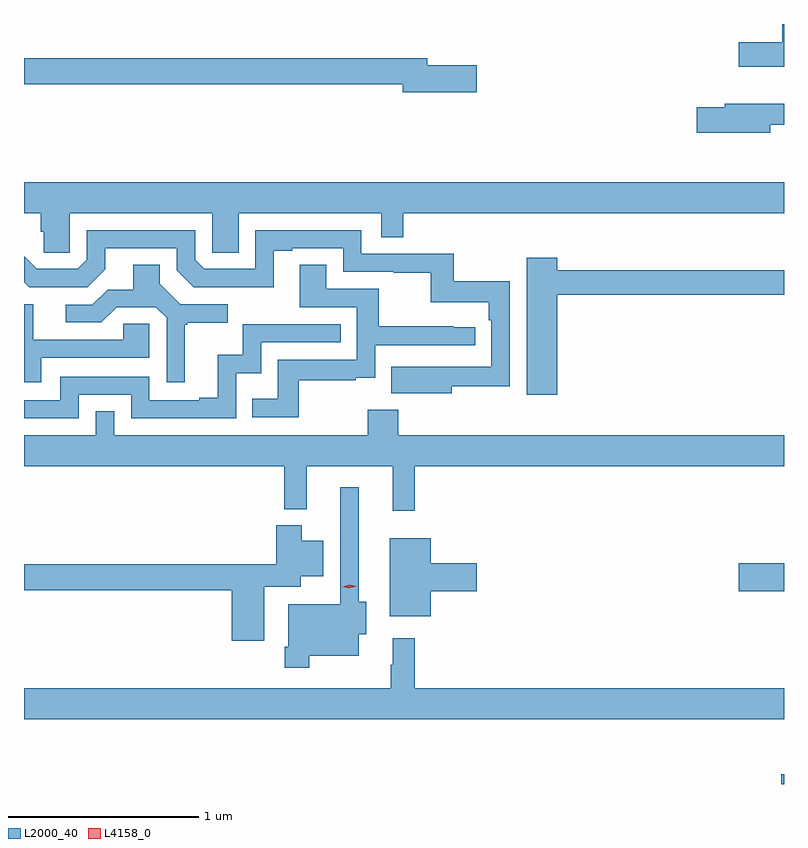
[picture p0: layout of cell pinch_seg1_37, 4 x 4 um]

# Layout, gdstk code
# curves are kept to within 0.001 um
import gdstk
lib = gdstk.Library(unit=1e-6, precision=1e-09)
def R(c, l, rs):  # rectangles x0, y0, x1, y1
    for r in rs: c.add(gdstk.rectangle(r[:2], r[2:], *l))
def P(c, l, *ps):  # polygons
    for p in ps: c.add(gdstk.Polygon(p, *l))
L2000_40 = (2000, 40)
L4158_0 = (4158, 0)

pinch_seg1_37 = lib.new_cell('pinch_seg1_37')
R(pinch_seg1_37, L2000_40, [(1097.293,564.712,1097.308,564.764), (1097.07,565.727,1097.308,565.874)])
P(pinch_seg1_37, L2000_40, [(1097.308,568.712),(1097.3,568.712),(1097.3,568.617),(1097.07,568.617),(1097.07,568.487),(1097.308,568.487)],
  [(1095.691,568.496),(1095.43,568.496),(1095.43,568.532),(1093.308,568.532),(1093.308,568.396),(1095.302,568.396),(1095.302,568.354),(1095.691,568.354)],
  [(1097.236,568.182),(1097.308,568.182),(1097.308,568.292),(1096.997,568.292),(1096.997,568.274),(1096.848,568.274),(1096.848,568.139),(1097.236,568.139)],
  [(1093.548,567.716),(1094.298,567.716),(1094.298,567.508),(1094.437,567.508),(1094.437,567.716),(1095.189,567.716),(1095.189,567.589),(1095.305,567.589),(1095.305,567.716),(1097.308,567.716),(1097.308,567.88),(1093.308,567.88),(1093.308,567.716),(1093.397,567.716),(1093.397,567.618),(1093.411,567.618),(1093.411,567.508),(1093.548,567.508)],
  [(1095.559,566.806),(1095.864,566.806),(1095.864,567.358),(1095.571,567.358),(1095.571,567.504),(1095.084,567.504),(1095.084,567.627),(1094.526,567.627),(1094.526,567.423),(1094.256,567.423),(1094.208,567.471),(1094.208,567.627),(1093.638,567.627),(1093.638,567.471),(1093.59,567.423),(1093.374,567.423),(1093.308,567.489),(1093.308,567.354),(1093.335,567.327),(1093.641,567.327),(1093.735,567.421),(1093.735,567.531),(1094.112,567.531),(1094.112,567.417),(1094.202,567.327),(1094.623,567.326),(1094.623,567.519),(1094.719,567.519),(1094.719,567.531),(1094.988,567.531),(1094.988,567.408),(1095.253,567.408),(1095.253,567.403),(1095.45,567.403),(1095.45,567.248),(1095.755,567.248),(1095.755,567.152),(1095.768,567.152),(1095.768,566.907),(1095.241,566.908),(1095.241,566.768),(1095.559,566.768)],
  [(1096.114,567.286),(1097.308,567.286),(1097.308,567.415),(1096.114,567.415),(1096.114,567.481),(1095.953,567.481),(1095.953,566.76),(1096.114,566.76)],
  [(1094.755,566.838),(1095.053,566.838),(1095.053,566.849),(1095.156,566.849),(1095.156,567.021),(1095.682,567.021),(1095.682,567.117),(1095.569,567.117),(1095.569,567.122),(1095.176,567.122),(1095.176,567.318),(1094.899,567.318),(1094.899,567.446),(1094.759,567.446),(1094.759,567.222),(1095.06,567.222),(1095.06,566.946),(1094.644,566.946),(1094.644,566.74),(1094.509,566.74),(1094.509,566.643),(1094.755,566.643)],
  [(1094.155,567.129),(1094.167,567.129),(1094.167,567.14),(1094.38,567.14),(1094.38,567.237),(1094.13,567.237),(1094.023,567.344),(1094.023,567.446),(1093.883,567.446),(1093.883,567.314),(1093.748,567.314),(1093.668,567.234),(1093.527,567.234),(1093.527,567.141),(1093.714,567.141),(1093.795,567.222),(1094.001,567.222),(1094.058,567.165),(1094.058,566.826),(1094.155,566.826)],
  [(1093.399,566.955),(1093.968,566.955),(1093.968,567.135),(1093.831,567.135),(1093.831,567.051),(1093.357,567.051),(1093.357,567.237),(1093.308,567.237),(1093.308,566.826),(1093.399,566.826)],
  [(1093.596,566.76),(1093.872,566.76),(1093.872,566.637),(1094.424,566.637),(1094.424,566.873),(1094.556,566.873),(1094.556,567.036),(1094.975,567.036),(1094.975,567.132),(1094.46,567.132),(1094.46,566.971),(1094.327,566.971),(1094.327,566.746),(1094.231,566.746),(1094.231,566.733),(1093.968,566.733),(1093.968,566.856),(1093.5,566.856),(1093.5,566.733),(1093.308,566.733),(1093.308,566.637),(1093.596,566.637)],
  [(1095.365,566.384),(1097.308,566.384),(1097.308,566.548),(1095.278,566.548),(1095.278,566.683),(1095.118,566.683),(1095.118,566.548),(1093.782,566.548),(1093.782,566.675),(1093.686,566.675),(1093.686,566.548),(1093.308,566.548),(1093.308,566.384),(1094.677,566.384),(1094.677,566.159),(1094.795,566.159),(1094.795,566.384),(1095.248,566.384),(1095.248,566.151),(1095.365,566.151)],
  [(1094.809,565.388),(1095.07,565.388),(1095.07,565.499),(1095.109,565.499),(1095.109,565.67),(1095.07,565.67),(1095.07,566.275),(1094.973,566.275),(1094.973,565.657),(1094.7,565.657),(1094.7,565.435),(1094.68,565.435),(1094.68,565.323),(1094.809,565.323)],
  [(1094.572,565.751),(1094.764,565.751),(1094.764,565.805),(1094.884,565.805),(1094.884,565.993),(1094.77,565.993),(1094.77,566.074),(1094.636,566.074),(1094.636,565.868),(1093.308,565.868),(1093.308,565.732),(1094.402,565.732),(1094.402,565.467),(1094.572,565.467)],
  [(1095.448,565.727),(1095.691,565.727),(1095.691,565.874),(1095.448,565.874),(1095.448,566.005),(1095.233,566.005),(1095.233,565.595),(1095.448,565.595)],
  [(1097.308,565.216),(1095.365,565.216),(1095.365,565.48),(1095.248,565.48),(1095.248,565.34),(1095.237,565.34),(1095.237,565.216),(1093.308,565.216),(1093.308,565.052),(1097.308,565.052)])
P(pinch_seg1_37, L4158_0, [(1095.02,565.741),(1094.985,565.75),(1094.984,565.75),(1094.985,565.75),(1095.02,565.761),(1095.056,565.753),(1095.056,565.753),(1095.056,565.752)])

lib.write_gds('pinch_seg1_37.gds')
